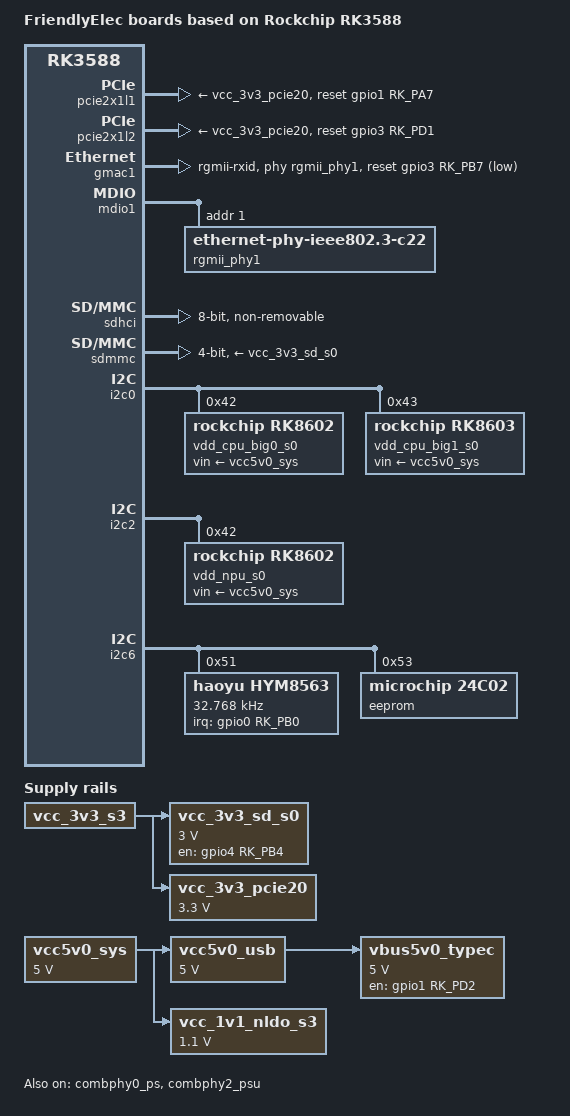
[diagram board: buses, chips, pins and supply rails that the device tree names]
// SPDX-License-Identifier: (GPL-2.0+ OR MIT)
/*
 * Copyright (c) 2022 FriendlyElec Computer Tech. Co., Ltd.
 * (http://www.friendlyelec.com)
 *
 * Copyright (c) 2021 Rockchip Electronics Co., Ltd.
 */

#include "rk3588s.dtsi"
#include "rk3588-rk806-single.dtsi"

/ {
	model = "FriendlyElec boards based on Rockchip RK3588";
	compatible = "friendlyelec,nanopi6",
		"rockchip,rk3588";

	aliases {
		mmc0 = &sdmmc;
		mmc1 = &sdhci;
		i2c0 = &i2c0;
		i2c1 = &i2c1;
		i2c2 = &i2c2;
		i2c3 = &i2c3;
		i2c4 = &i2c4;
		i2c5 = &i2c5;
		i2c6 = &i2c6;
		i2c7 = &i2c7;
		i2c8 = &i2c8;
	};

	chosen: chosen {
		bootargs = "earlycon=uart8250,mmio32,0xfeb50000";
	};

	mach: board {
		compatible = "friendlyelec,board";
		machine = "NANOPI6";
		hwrev = <255>;
		model = "NanoPi 6 Series";
		nvmem-cells = <&otp_id>, <&otp_cpu_version>;
		nvmem-cell-names = "id", "cpu-version";
	};

	vcc5v0_sys: vcc5v0-sys {
		compatible = "regulator-fixed";
		regulator-name = "vcc5v0_sys";
		regulator-always-on;
		regulator-boot-on;
		regulator-min-microvolt = <5000000>;
		regulator-max-microvolt = <5000000>;
	};

	vcc5v0_usb: vcc5v0-usb {
		compatible = "regulator-fixed";
		regulator-name = "vcc5v0_usb";
		regulator-always-on;
		regulator-boot-on;
		regulator-min-microvolt = <5000000>;
		regulator-max-microvolt = <5000000>;
		vin-supply = <&vcc5v0_sys>;
	};

	vcc_1v1_nldo_s3: vcc-1v1-nldo-s3 {
		compatible = "regulator-fixed";
		regulator-name = "vcc_1v1_nldo_s3";
		regulator-always-on;
		regulator-boot-on;
		regulator-min-microvolt = <1100000>;
		regulator-max-microvolt = <1100000>;
		vin-supply = <&vcc5v0_sys>;
	};

	vcc_3v3_sd_s0: vcc-3v3-sd-s0-regulator {
		compatible = "regulator-fixed";
		enable-active-high;
		gpio = <&gpio4 RK_PB4 GPIO_ACTIVE_HIGH>;
		pinctrl-names = "default";
		pinctrl-0 = <&sd_s0_pwr>;
		regulator-always-on;
		regulator-boot-on;
		regulator-max-microvolt = <3000000>;
		regulator-min-microvolt = <3000000>;
		regulator-name = "vcc_3v3_sd_s0";
		vin-supply = <&vcc_3v3_s3>;
	};

	vcc_3v3_pcie20: vcc3v3-pcie20 {
		compatible = "regulator-fixed";
		regulator-name = "vcc_3v3_pcie20";
		regulator-always-on;
		regulator-boot-on;
		regulator-min-microvolt = <3300000>;
		regulator-max-microvolt = <3300000>;
		vin-supply = <&vcc_3v3_s3>;
	};

	vbus5v0_typec: vbus5v0-typec {
		compatible = "regulator-fixed";
		enable-active-high;
		gpio = <&gpio1 RK_PD2 GPIO_ACTIVE_HIGH>;
		pinctrl-names = "default";
		pinctrl-0 = <&typec5v_pwren>;
		regulator-name = "vbus5v0_typec";
		regulator-min-microvolt = <5000000>;
		regulator-max-microvolt = <5000000>;
		vin-supply = <&vcc5v0_usb>;
	};
};

&combphy0_ps {
	status = "okay";
};

&combphy2_psu {
	status = "okay";
};

&pcie2x1l1 {
	reset-gpios = <&gpio1 RK_PA7 GPIO_ACTIVE_HIGH>;
	rockchip,init-delay-ms = <100>;
	vpcie3v3-supply = <&vcc_3v3_pcie20>;
	status = "okay";
};

&pcie2x1l2 {
	reset-gpios = <&gpio3 RK_PD1 GPIO_ACTIVE_HIGH>;
	vpcie3v3-supply = <&vcc_3v3_pcie20>;
	status = "okay";
};

&gmac1 {
	/* Use rgmii-rxid mode to disable rx delay inside Soc */
	phy-mode = "rgmii-rxid";
	clock_in_out = "output";

	snps,no-vlhash;
	snps,reset-gpio = <&gpio3 RK_PB7 GPIO_ACTIVE_LOW>;
	snps,reset-active-low;
	/* Reset time is 20ms, 100ms for rtl8211f */
	snps,reset-delays-us = <0 20000 100000>;

	pinctrl-names = "default";
	pinctrl-0 = <&gmac1_miim
		&gmac1_tx_bus2
		&gmac1_rx_bus2
		&gmac1_rgmii_clk
		&gmac1_rgmii_bus>;

	tx_delay = <0x42>;
	/* rx_delay = <0x4f>; */

	phy-handle = <&rgmii_phy1>;
	status = "okay";
};

&mdio1 {
	rgmii_phy1: phy@1 {
	compatible = "ethernet-phy-ieee802.3-c22";
	reg = <0x1>;
	};
};

&pinctrl {
	sdmmc {
		sd_s0_pwr: sd-s0-pwr {
			rockchip,pins = <4 RK_PB4 RK_FUNC_GPIO &pcfg_pull_up>;
		};
	};

	hym8563 {
		hym8563_int: hym8563-int {
			rockchip,pins = <0 RK_PB0 RK_FUNC_GPIO &pcfg_pull_none>;
		};
	};


	usb {
		typec5v_pwren: typec5v-pwren {
			rockchip,pins = <1 RK_PD2 RK_FUNC_GPIO &pcfg_pull_none>;
		};

		/omit-if-no-ref/
		usbc0_int: usbc0-int {
		    rockchip,pins = <0 RK_PD3 RK_FUNC_GPIO &pcfg_pull_up>;
		};
	};
};

&sdhci {
	bus-width = <8>;
	no-sdio;
	no-sd;
	non-removable;
	max-frequency = <200000000>;
	mmc-hs400-1_8v;
	mmc-hs400-enhanced-strobe;
	status = "okay";
};

&sdmmc {
	bus-width = <4>;
	no-sdio;
	no-mmc;
	max-frequency = <150000000>;
	cap-mmc-highspeed;
	cap-sd-highspeed;
	disable-wp;
	sd-uhs-sdr104;
	vmmc-supply = <&vcc_3v3_sd_s0>;
	vqmmc-supply = <&vccio_sd_s0>;
	pinctrl-names = "default";
	pinctrl-0 = <&sdmmc_bus4 &sdmmc_clk &sdmmc_cmd &sdmmc_det>;
	status = "okay";
};

&i2c0 {
	status = "okay";
	pinctrl-names = "default";
	pinctrl-0 = <&i2c0m2_xfer>;

	vdd_cpu_big0_s0: vdd_cpu_big0_mem_s0: rk8602@42 {
		compatible = "rockchip,rk8602";
		reg = <0x42>;
		vin-supply = <&vcc5v0_sys>;
		regulator-compatible = "rk860x-reg";
		regulator-name = "vdd_cpu_big0_s0";
		regulator-min-microvolt = <550000>;
		regulator-max-microvolt = <1050000>;
		regulator-ramp-delay = <2300>;
		rockchip,suspend-voltage-selector = <1>;
		regulator-boot-on;
		regulator-always-on;
		regulator-state-mem {
			regulator-off-in-suspend;
		};
	};

	vdd_cpu_big1_s0: vdd_cpu_big1_mem_s0: rk8603@43 {
		compatible = "rockchip,rk8603";
		reg = <0x43>;
		vin-supply = <&vcc5v0_sys>;
		regulator-compatible = "rk860x-reg";
		regulator-name = "vdd_cpu_big1_s0";
		regulator-min-microvolt = <550000>;
		regulator-max-microvolt = <1050000>;
		regulator-ramp-delay = <2300>;
		rockchip,suspend-voltage-selector = <1>;
		regulator-boot-on;
		regulator-always-on;
		regulator-state-mem {
		    regulator-off-in-suspend;
		};
	};
};

&i2c2 {
	status = "okay";

	vdd_npu_s0: vdd_npu_mem_s0: rk8602@42 {
		compatible = "rockchip,rk8602";
		reg = <0x42>;
		vin-supply = <&vcc5v0_sys>;
		regulator-compatible = "rk860x-reg";
		regulator-name = "vdd_npu_s0";
		regulator-min-microvolt = <550000>;
		regulator-max-microvolt = <950000>;
		regulator-ramp-delay = <2300>;
		rockchip,suspend-voltage-selector = <1>;
		regulator-boot-on;
		regulator-always-on;
		regulator-state-mem {
		    regulator-off-in-suspend;
		};
	};
};

&i2c3 {
	status = "disabled";
};

&i2c4 {
	status = "disabled";
	pinctrl-names = "default";
	pinctrl-0 = <&i2c4m3_xfer>;
};

&i2c5 {
	status = "disabled";
	pinctrl-names = "default";
	pinctrl-0 = <&i2c5m3_xfer>;
};

&i2c6 {
	status = "okay";
	pinctrl-names = "default";
	pinctrl-0 = <&i2c6m0_xfer>;

	hym8563: hym8563@51 {
		compatible = "haoyu,hym8563";
		reg = <0x51>;
		#clock-cells = <0>;
		clock-frequency = <32768>;
		clock-output-names = "hym8563";
		pinctrl-names = "default";
		pinctrl-0 = <&hym8563_int>;
		interrupt-parent = <&gpio0>;
		interrupts = <RK_PB0 IRQ_TYPE_LEVEL_LOW>;
		wakeup-source;
	};

       eeprom: eeprom@53 {
               compatible = "microchip,24c02", "atmel,24c02";
               reg = <0x53>;
               #address-cells = <2>;
               #size-cells = <0>;
               pagesize = <16>;
               size = <256>;

               eui_48: eui-48@fa {
                   reg = <0xfa 0x06>;
               };
       };
};

&i2c7 {
	status = "disabled";
};

&i2c8 {
	status = "disabled";
};

